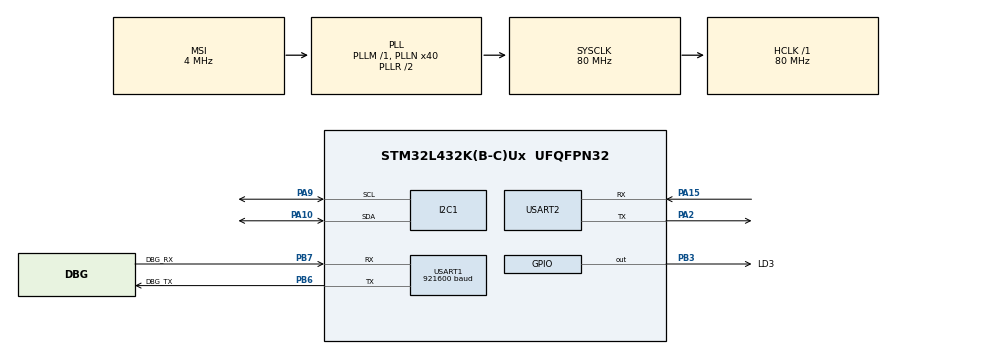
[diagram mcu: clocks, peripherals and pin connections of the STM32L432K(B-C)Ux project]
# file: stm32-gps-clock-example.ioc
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FREERTOS.Mutexes01=i2c1_mutex,Dynamic,NULL,Available;console_mutex,Dynamic,NULL,Available
FREERTOS.Tasks01=sensorTask,24,512,StartSensorTask,Default,NULL,Dynamic,NULL,NULL;consoleTask,16,256,StartConsoleTask,Default,NULL,Dynamic,NULL,NULL
FREERTOS.configTOTAL_HEAP_SIZE=16384
FREERTOS.configUSE_NEWLIB_REENTRANT=1
I2C1.Timing=0x10909CEC
Mcu.Family=STM32L4
Mcu.Name=STM32L432K(B-C)Ux
Mcu.Package=UFQFPN32
NVIC.I2C1_ER_IRQn=true\:5\:0\:false\:false\:true\:true\:true\:true
NVIC.I2C1_EV_IRQn=true\:5\:0\:false\:false\:true\:true\:true\:true
NVIC.PriorityGroup=NVIC_PRIORITYGROUP_4
NVIC.USART1_IRQn=true\:5\:0\:false\:false\:true\:true\:true\:true
NVIC.USART2_IRQn=true\:5\:0\:false\:false\:true\:true\:true\:true
PA10.Mode=I2C
PA10.Signal=I2C1_SDA
PA15\ (JTDI).Mode=Asynchronous
PA15\ (JTDI).Signal=USART2_RX
PA2.Mode=Asynchronous
PA2.Signal=USART2_TX
PA9.Mode=I2C
PA9.Signal=I2C1_SCL
PB3\ (JTDO-TRACESWO).GPIO_Label=LD3
PB3\ (JTDO-TRACESWO).Signal=GPIO_Output
PB6.GPIO_Label=DBG_TX
PB6.Mode=Asynchronous
PB6.Signal=USART1_TX
PB7.GPIO_Label=DBG_RX
PB7.GPIO_PuPd=GPIO_PULLUP
PB7.Mode=Asynchronous
PB7.Signal=USART1_RX
PC14-OSC32_IN\ (PC14).Mode=LSE-External-Oscillator
PC14-OSC32_IN\ (PC14).Signal=RCC_OSC32_IN
PC15-OSC32_OUT\ (PC15).Mode=LSE-External-Oscillator
PC15-OSC32_OUT\ (PC15).Signal=RCC_OSC32_OUT
ProjectManager.HeapSize=0x200
ProjectManager.StackSize=0x400
ProjectManager.TargetToolchain=STM32CubeIDE
RCC.FLatency=FLASH_LATENCY_4
RCC.HCLKFreq_Value=80000000
RCC.HSE_VALUE=8000000
RCC.HSI48_VALUE=48000000
RCC.HSI_VALUE=16000000
RCC.LSE_VALUE=32768
RCC.MSIPLLMode=RCC_MSIPLL_ENABLE
RCC.MSI_VALUE=4000000
RCC.PLLN=40
RCC.PLLSourceVirtual=RCC_PLLSOURCE_MSI
RCC.SYSCLKFreq_VALUE=80000000
RCC.SYSCLKSource=RCC_SYSCLKSOURCE_PLLCLK
RCC.VCOOutputFreq_Value=32000000
USART1.BaudRate=921600
USART1.VirtualMode-Asynchronous=VM_ASYNC
USART2.VirtualMode-Asynchronous=VM_ASYNC
VP_FREERTOS_VS_CMSIS_V2.Mode=CMSIS_V2
board=custom

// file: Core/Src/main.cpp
/* USER CODE BEGIN Header */
/**
  ******************************************************************************
  * @file           : main.cpp
  * @brief          : BMP390 and SHT31 bring-up on the NUCLEO-L432KC
  *
  *  A live test of two sensors on I2C1: a BMP390 (pressure, temperature)
  *  and an SHT31 (temperature, humidity) beside it, to compare the two
  *  temperatures. Claude-iTransport's non-blocking drivers
  *  (xbmp390<Stm32HalI2CTransport> forced once a second, in sensorTask;
  *  xSHT31<Stm32HalI2CTransport> in periodic mode, one a second, in its
  *  own task; see iTransport/SOURCE.txt). The BMP390's station pressure
  *  also goes through a SeaLevelBarometer (isensor/inc): the altimeter
  *  setting for the station's elevation, the sea-level figure a Davis
  *  console or weather.gov shows, with a calibration offset the console
  *  can set against such a reference. Once a second the latest readings
  *  go to the ST-LINK's virtual COM port (USART2, 115200 8N1).
  *
  *  At start-up the I2C bus is scanned and two ID registers read at 0x76
  *  and 0x77: 0x60 in register 0x00 is a BMP390 (0x50 a BMP388, which the
  *  same driver runs); 0x60, 0x58 or 0x61 in register 0xD0 a BME280,
  *  BMP280 or BME680, reported but not driven. An SHT31 answers at 0x44
  *  or 0x45. The scan repeats every 2 s until a BMP390 or an SHT31
  *  answers; each one found then gets its driver.
  *
  *  A debug log (Claude-iTransport's DebugLog.h, at ITRANSPORT_DEBUG 2, set
  *  in the project's defines) goes out on USART1 TX, D5 (PB6), at 921600
  *  8N1: the drivers' state changes and I2C faults ("bmp390", "sht31", "bus"), and
  *  this application's events ("app"). Read it with a 3.3 V USB-serial
  *  adapter or the Saleae's async serial analyser.
  *
  *  The GPS clock this project started as (GPS, OLED, W5500, NTP, PPS) is
  *  in the repository's history at commit eb4b352.
  *
  *  Wiring (NUCLEO-L432KC):
  *    I2C1_SCL  PA9  (D1)  -> BMP390 SCK, SHT31 SCL
  *    I2C1_SDA  PA10 (D0)  -> BMP390 SDI, SHT31 SDA
  *    3V3, GND             -> BMP390 and SHT31 VIN, GND
  *    (BMP390 SDO: 0x77 high or open on most boards, 0x76 to GND; either is found)
  *    USART2    PA2/PA15   <> ST-LINK virtual COM port (the USB cable)
  *    USART1_TX PB6  (D5)  -> debug log, 921600 8N1 (USART1_RX PB7, D4, unused)
  *    LD3       PB3        green LED: toggles on each BMP390 reading
  ******************************************************************************
  * @attention
  *
  * Copyright (c) 2026 STMicroelectronics.
  * All rights reserved.
  *
  * This software is licensed under terms that can be found in the LICENSE file
  * in the root directory of this software component.
  * If no LICENSE file comes with this software, it is provided AS-IS.
  *
  ******************************************************************************
  */
/* USER CODE END Header */
#include "main.h"
#include "cmsis_os.h"

/* USER CODE BEGIN Includes */
#include <stdio.h>
#include <string.h>
#include <stdlib.h>
#include <stdarg.h>
#include <math.h>
#include <atomic>
#include "Stm32HalI2CTransport.h"
#include "Stm32HalUartTransport.h"
#include "Stm32DebugPort.h"
#include "DebugLog.h"
#include "xSHT31.h"
#include "xbmp390.h"
#include "SeaLevelBarometer.h"
/* USER CODE END Includes */

/* USER CODE BEGIN PTD */
typedef xSHT31<Stm32HalI2CTransport> Sht31Sensor;
typedef BMP390::xbmp390<Stm32HalI2CTransport> Bmp390Sensor;
/* USER CODE END PTD */

/* USER CODE BEGIN PD */
// The BMP390's two addresses (its SDO pin)
#define BOSCH_ADDR_LOW          0x76
#define BOSCH_ADDR_HIGH         0x77
// The ID register of Bosch's older chips (0xD0) and what it holds for them
// (Bosch's datasheets, as the drivers and general knowledge have them):
// only reported here
#define CHIP_ID_REG             0xD0
#define CHIP_ID_BME280          0x60
#define CHIP_ID_BMP280          0x58
#define CHIP_ID_BME680          0x61
// The BMP390's ID register is 0x00 (Bosch's BMP3 API): 0x60, the same
// value as a BME280's, in another register
#define BMP3_CHIP_ID_REG        0x00

#define SHT31_ADDR_A            0x44       // ADDR pin low (most boards)
#define SHT31_ADDR_B            0x45       // ADDR pin high

// The station's elevation above mean sea level, for the altimeter setting.
// Set yours here, or with the console's e command (it isn't kept across a
// reset). 40 m: this board's station (elevationfinder.net).
#define STATION_ELEVATION_M     40.0f
#define M_PER_FT                0.3048f

#define SCAN_RETRY_MS           2000UL     // neither sensor found: scan again this often
#define READING_STALE_MS        3000UL     // no reading for this long: say so

// The debug log's UART (USART1): fast, since level 2 logs every state change
#define DEBUG_BAUD              921600

#define CONSOLE_RING            2048
#define CONSOLE_LINE            48
/* USER CODE END PD */

I2C_HandleTypeDef hi2c1;

UART_HandleTypeDef huart1;
UART_HandleTypeDef huart2;

/* Definitions for sensorTask */
osThreadId_t sensorTaskHandle;
const osThreadAttr_t sensorTask_attributes = {
  .name = "sensorTask",
  .stack_size = 512 * 4,
  .priority = (osPriority_t) osPriorityNormal,
};
/* Definitions for shtTask (started by sensorTask when an SHT31 answers) */
osThreadId_t shtTaskHandle;
const osThreadAttr_t shtTask_attributes = {
  .name = "shtTask",
  .stack_size = 384 * 4,
  .priority = (osPriority_t) osPriorityNormal,
};
/* Definitions for consoleTask */
osThreadId_t consoleTaskHandle;
const osThreadAttr_t consoleTask_attributes = {
  .name = "consoleTask",
  .stack_size = 256 * 4,
  .priority = (osPriority_t) osPriorityBelowNormal,
};
/* Definitions for i2c1_mutex */
osMutexId_t i2c1_mutexHandle;
const osMutexAttr_t i2c1_mutex_attributes = {
  .name = "i2c1_mutex"
};
/* Definitions for console_mutex */
osMutexId_t console_mutexHandle;
const osMutexAttr_t console_mutex_attributes = {
  .name = "console_mutex"
};
/* USER CODE BEGIN PV */
// The console: a ring the tasks write (under console_mutex) and
// consoleTask hands to USART2
static char g_console[CONSOLE_RING];
static uint32_t g_conHead = 0, g_conTail = 0;
static uint32_t g_conDropped = 0;

// A command line typed on the console, handed from the UART interrupt to
// sensorTask: g_cmdReady set once it is complete, cleared when taken
static char g_cmd[CONSOLE_LINE];
static std::atomic<bool> g_cmdReady{false};

// The SHT31: its address (0 if none) for shtTask, and its latest reading
// for sensorTask (written by shtTask only; each value a 32-bit atomic)
static std::atomic<uint8_t> g_shtAddr{0};
static std::atomic<float> g_shtT{NAN}, g_shtH{NAN};
static std::atomic<uint32_t> g_shtReadings{0}, g_shtTick{0};
static std::atomic<int> g_shtState{0};

// Stands in for the BMP390 when none answered: NAN, so the sea-level
// reading is NAN too
struct NoBarometer : Barometer {
  float getPressure() const override { return NAN; }
};
/* USER CODE END PV */

void SystemClock_Config(void);
static void MX_GPIO_Init(void);
static void MX_I2C1_Init(void);
static void MX_USART1_UART_Init(void);
static void MX_USART2_UART_Init(void);
void StartSensorTask(void *argument);
void StartShtTask(void *argument);
void StartConsoleTask(void *argument);

/* USER CODE BEGIN PFP */
static void consolePrint(const char *fmt, ...) __attribute__((format(printf, 1, 2)));
/* USER CODE END PFP */

/* USER CODE BEGIN 0 */
// The HAL UART and I2C interrupt callbacks are in iTransport/hw/stm32/src
// (Stm32UartItCallbacks.cpp, Stm32I2CItCallbacks.cpp): don't define them here.

// printf to the console. Tasks only; a line that doesn't fit is dropped
// and counted.
static void consolePrint(const char *fmt, ...)
{
  char line[200];
  va_list ap;
  va_start(ap, fmt);
  int n = vsnprintf(line, sizeof(line), fmt, ap);
  va_end(ap);
  if (n <= 0)
    return;
  if (n >= (int) sizeof(line))
    n = sizeof(line) - 1;
  if (console_mutexHandle == nullptr || osMutexAcquire(console_mutexHandle, 20) != osOK)
    return;
  if (g_conHead - g_conTail + (uint32_t) n > CONSOLE_RING) {
    ++g_conDropped;
  } else {
    for (int i = 0; i < n; ++i)
      g_console[(g_conHead + i) % CONSOLE_RING] = line[i];
    g_conHead += n;
  }
  osMutexRelease(console_mutexHandle);
}

// Keys typed on the console, a line at a time (Enter ends it; Backspace
// works). Interrupt context. A line typed while the last is still waiting
// is dropped. The terminal should echo locally: nothing is sent back.
struct ConsoleKeys : iTransportRxSink {
  char buf[CONSOLE_LINE];
  uint8_t len = 0;
  void onByteReceived(uint8_t b) override {
    if (b == '\r' || b == '\n') {
      if (len != 0 && !g_cmdReady.load(std::memory_order_acquire)) {
        memcpy(g_cmd, buf, len);
        g_cmd[len] = 0;
        g_cmdReady.store(true, std::memory_order_release);
      }
      len = 0;
    } else if (b == 0x08 || b == 0x7F) {
      if (len != 0)
        --len;
    } else if (b >= 0x20 && len < CONSOLE_LINE - 1) {
      buf[len++] = (char) b;
    }
  }
};
static ConsoleKeys consoleKeys;

static void printHelp(void)
{
  consolePrint("\r\nNUCLEO-L432KC BMP390/SHT31 bring-up: I2C1 SCL=D1 (PA9) SDA=D0 (PA10), 100 kHz\r\n"
               "commands (Enter to finish; turn on your terminal's local echo):\r\n"
               "  s          scan the I2C bus and read the chip IDs at 0x76 and 0x77\r\n"
               "  e 131      the station's elevation in feet (e 40m for metres), for the sea-level reading\r\n"
               "  b 30.54    calibrate: make the sea-level reading this many inHg now (from weather.gov, say)\r\n"
               "  o          clear the calibration offset\r\n"
               "  h          this help\r\n\r\n");
}

// "-12.34" from a double with `decimals` places, without printf float
// support (newlib nano); "nan" for NAN
static void formatFixed(char *out, size_t len, double v, int decimals)
{
  if (isnan(v)) {
    snprintf(out, len, "nan");
    return;
  }
  long scale = 1;
  for (int i = 0; i < decimals; ++i)
    scale *= 10;
  const bool neg = v < 0;
  const long long n = (long long)((neg ? -v : v) * scale + 0.5);
  snprintf(out, len, "%s%ld.%0*ld", neg ? "-" : "", (long)(n / scale), decimals, (long)(n % scale));
}

static const char *chipName(uint8_t id)
{
  switch (id) {
  case CHIP_ID_BME280: return "BME280";
  case CHIP_ID_BMP280: return "BMP280 (no humidity)";
  case CHIP_ID_BME680: return "BME680";
  default:             return "unknown";
  }
}

// Every address 0x08..0x77 that acknowledges, and two ID registers at 0x76
// and 0x77: 0x00 (the BMP390's) and 0xD0 (the older Bosch chips'). Blocking
// HAL calls under i2c1_mutex, about 15 ms. The mutex is not recursive and
// a driver holds it from issuing a transfer until it sees it land, so call
// this only from a thread with no transfer outstanding (sensorTask waits
// for a state of its driver's with none). Returns the address of a BMP390
// (or BMP388), or 0 (and 0 if the bus stayed busy); an SHT31's through
// shtAddr (0 if none).
static uint8_t scanBus(uint8_t *shtAddr = nullptr)
{
  uint8_t found = 0;
  uint8_t sht = 0;
  char list[160];
  size_t n = 0;
  list[0] = 0;
  if (osMutexAcquire(i2c1_mutexHandle, 200) != osOK) {
    consolePrint("I2C bus busy: no scan\r\n");
    return 0;
  }
  bool acked[2] = {false, false};
  for (uint8_t a = 0x08; a <= 0x77; ++a) {
    if (HAL_I2C_IsDeviceReady(&hi2c1, (uint16_t)(a << 1), 1, 2) == HAL_OK) {
      if (n + 6 < sizeof(list))
        n += (size_t) snprintf(list + n, sizeof(list) - n, " 0x%02X", a);
      if ((a == SHT31_ADDR_A || a == SHT31_ADDR_B) && sht == 0)
        sht = a;
      if (a == BOSCH_ADDR_LOW || a == BOSCH_ADDR_HIGH)
        acked[a - BOSCH_ADDR_LOW] = true;
    }
  }
  // Both ID registers at each address that answered
  uint8_t ids3[2] = {0, 0}, ids[2] = {0, 0};
  bool idOk[2] = {false, false};
  for (int i = 0; i < 2; ++i) {
    const uint8_t a = (uint8_t)(BOSCH_ADDR_LOW + i);
    if (!acked[i])
      continue;
    idOk[i] = HAL_I2C_Mem_Read(&hi2c1, (uint16_t)(a << 1), BMP3_CHIP_ID_REG, I2C_MEMADD_SIZE_8BIT, &ids3[i], 1, 10) == HAL_OK
              && HAL_I2C_Mem_Read(&hi2c1, (uint16_t)(a << 1), CHIP_ID_REG, I2C_MEMADD_SIZE_8BIT, &ids[i], 1, 10) == HAL_OK;
  }
  osMutexRelease(i2c1_mutexHandle);

  consolePrint("I2C scan:%s\r\n", n ? list : " nothing answered (check SDA D0, SCL D1, 3V3, GND, pull-ups)");
  for (int i = 0; i < 2; ++i) {
    const uint8_t a = (uint8_t)(BOSCH_ADDR_LOW + i);
    if (!idOk[i])
      continue;
    DBG_EVENT("app", "chip-id", (int32_t) a, (int32_t) ids3[i], (int32_t) ids[i]);
    if (ids3[i] == BMP390_CHIP_ID || ids3[i] == BMP388_CHIP_ID) {
      consolePrint("  0x%02X: chip ID 0x%02X (register 0x00) = %s\r\n", a, ids3[i],
                   ids3[i] == BMP390_CHIP_ID ? "BMP390" : "BMP388");
      if (found == 0)
        found = a;
    } else if (ids[i] == CHIP_ID_BME280 || ids[i] == CHIP_ID_BMP280 || ids[i] == CHIP_ID_BME680) {
      consolePrint("  0x%02X: chip ID 0x%02X (register 0xD0) = %s: not driven by this firmware\r\n", a, ids[i],
                   chipName(ids[i]));
    } else {
      // Two chips at one address read as the AND of their answers
      consolePrint("  0x%02X: chip IDs 0x%02X (0x00), 0x%02X (0xD0): unknown; two chips at this address?\r\n", a,
                   ids3[i], ids[i]);
    }
  }
  if (sht != 0)
    consolePrint("  0x%02X: answers where an SHT31 would be (it has no ID register to check)\r\n", sht);
  if (shtAddr != nullptr)
    *shtAddr = sht;
  return found;
}
/* USER CODE END 0 */

int main(void)
{

  /* MCU Configuration--------------------------------------------------------*/

  /* Reset of all peripherals, Initializes the Flash interface and the Systick. */
  HAL_Init();

  /* Configure the system clock */
  SystemClock_Config();

  /* Initialize all configured peripherals */
  MX_GPIO_Init();
  MX_I2C1_Init();
  MX_USART1_UART_Init();
  MX_USART2_UART_Init();
  /* USER CODE BEGIN 2 */
  // The debug log on USART1: lines queue in a ring from here on, and
  // consoleTask's dbg::poll() sends them
  static Stm32HalUartTransport debugUart(&huart1);
  dbg::begin(&debugUart, Stm32DebugPort::port());
  DBG_EVENT("app", "start", (int32_t) HAL_GetREVID(), (int32_t) HAL_GetDEVID());
  /* USER CODE END 2 */

  /* Init scheduler */
  osKernelInitialize();
  /* Create the mutex(es) */
  /* creation of i2c1_mutex */
  i2c1_mutexHandle = osMutexNew(&i2c1_mutex_attributes);

  /* creation of console_mutex */
  console_mutexHandle = osMutexNew(&console_mutex_attributes);

  /* Create the thread(s) */
  /* creation of sensorTask */
  sensorTaskHandle = osThreadNew(StartSensorTask, NULL, &sensorTask_attributes);

  /* creation of consoleTask */
  consoleTaskHandle = osThreadNew(StartConsoleTask, NULL, &consoleTask_attributes);

  /* Start scheduler */
  osKernelStart();

  /* We should never get here as control is now taken by the scheduler */

  /* Infinite loop */
  while (1)
  {

  }
}

void SystemClock_Config(void)
{
  RCC_OscInitTypeDef RCC_OscInitStruct = {0};
  RCC_ClkInitTypeDef RCC_ClkInitStruct = {0};

  /** Configure the main internal regulator output voltage
  */
  if (HAL_PWREx_ControlVoltageScaling(PWR_REGULATOR_VOLTAGE_SCALE1) != HAL_OK)
  {
    Error_Handler();
  }

  /** Configure LSE Drive Capability
  */
  HAL_PWR_EnableBkUpAccess();
  __HAL_RCC_LSEDRIVE_CONFIG(RCC_LSEDRIVE_LOW);

  /** Initializes the RCC Oscillators according to the specified parameters
  * in the RCC_OscInitTypeDef structure.
  * MSI 4 MHz -> PLL x40 /2 -> 80 MHz; the LSE crystal (X2) trims the MSI.
  */
  RCC_OscInitStruct.OscillatorType = RCC_OSCILLATORTYPE_LSE|RCC_OSCILLATORTYPE_MSI;
  RCC_OscInitStruct.LSEState = RCC_LSE_ON;
  RCC_OscInitStruct.MSIState = RCC_MSI_ON;
  RCC_OscInitStruct.MSICalibrationValue = 0;
  RCC_OscInitStruct.MSIClockRange = RCC_MSIRANGE_6;
  RCC_OscInitStruct.PLL.PLLState = RCC_PLL_ON;
  RCC_OscInitStruct.PLL.PLLSource = RCC_PLLSOURCE_MSI;
  RCC_OscInitStruct.PLL.PLLM = 1;
  RCC_OscInitStruct.PLL.PLLN = 40;
  RCC_OscInitStruct.PLL.PLLP = RCC_PLLP_DIV7;
  RCC_OscInitStruct.PLL.PLLQ = RCC_PLLQ_DIV2;
  RCC_OscInitStruct.PLL.PLLR = RCC_PLLR_DIV2;
  if (HAL_RCC_OscConfig(&RCC_OscInitStruct) != HAL_OK)
  {
    Error_Handler();
  }

  /** Initializes the CPU, AHB and APB buses clocks
  */
  RCC_ClkInitStruct.ClockType = RCC_CLOCKTYPE_HCLK|RCC_CLOCKTYPE_SYSCLK
                              |RCC_CLOCKTYPE_PCLK1|RCC_CLOCKTYPE_PCLK2;
  RCC_ClkInitStruct.SYSCLKSource = RCC_SYSCLKSOURCE_PLLCLK;
  RCC_ClkInitStruct.AHBCLKDivider = RCC_SYSCLK_DIV1;
  RCC_ClkInitStruct.APB1CLKDivider = RCC_HCLK_DIV1;
  RCC_ClkInitStruct.APB2CLKDivider = RCC_HCLK_DIV1;

  if (HAL_RCC_ClockConfig(&RCC_ClkInitStruct, FLASH_LATENCY_4) != HAL_OK)
  {
    Error_Handler();
  }

  /** Enable MSI Auto calibration
  */
  HAL_RCCEx_EnableMSIPLLMode();
}

static void MX_I2C1_Init(void)
{

  hi2c1.Instance = I2C1;
  hi2c1.Init.Timing = 0x10909CEC;   // 100 kHz (standard mode) at 80 MHz; the BMP390 and SHT31 also take 400 kHz
  hi2c1.Init.OwnAddress1 = 0;
  hi2c1.Init.AddressingMode = I2C_ADDRESSINGMODE_7BIT;
  hi2c1.Init.DualAddressMode = I2C_DUALADDRESS_DISABLE;
  hi2c1.Init.OwnAddress2 = 0;
  hi2c1.Init.OwnAddress2Masks = I2C_OA2_NOMASK;
  hi2c1.Init.GeneralCallMode = I2C_GENERALCALL_DISABLE;
  hi2c1.Init.NoStretchMode = I2C_NOSTRETCH_DISABLE;
  if (HAL_I2C_Init(&hi2c1) != HAL_OK)
  {
    Error_Handler();
  }

  /** Configure Analogue filter
  */
  if (HAL_I2CEx_ConfigAnalogFilter(&hi2c1, I2C_ANALOGFILTER_ENABLE) != HAL_OK)
  {
    Error_Handler();
  }

  /** Configure Digital filter
  */
  if (HAL_I2CEx_ConfigDigitalFilter(&hi2c1, 0) != HAL_OK)
  {
    Error_Handler();
  }

}

static void MX_USART1_UART_Init(void)
{

  huart1.Instance = USART1;
  huart1.Init.BaudRate = DEBUG_BAUD;
  huart1.Init.WordLength = UART_WORDLENGTH_8B;
  huart1.Init.StopBits = UART_STOPBITS_1;
  huart1.Init.Parity = UART_PARITY_NONE;
  huart1.Init.Mode = UART_MODE_TX_RX;
  huart1.Init.HwFlowCtl = UART_HWCONTROL_NONE;
  huart1.Init.OverSampling = UART_OVERSAMPLING_16;
  huart1.Init.OneBitSampling = UART_ONE_BIT_SAMPLE_DISABLE;
  huart1.AdvancedInit.AdvFeatureInit = UART_ADVFEATURE_NO_INIT;
  if (HAL_UART_Init(&huart1) != HAL_OK)
  {
    Error_Handler();
  }

}

static void MX_USART2_UART_Init(void)
{

  huart2.Instance = USART2;
  huart2.Init.BaudRate = 115200;
  huart2.Init.WordLength = UART_WORDLENGTH_8B;
  huart2.Init.StopBits = UART_STOPBITS_1;
  huart2.Init.Parity = UART_PARITY_NONE;
  huart2.Init.Mode = UART_MODE_TX_RX;
  huart2.Init.HwFlowCtl = UART_HWCONTROL_NONE;
  huart2.Init.OverSampling = UART_OVERSAMPLING_16;
  huart2.Init.OneBitSampling = UART_ONE_BIT_SAMPLE_DISABLE;
  huart2.AdvancedInit.AdvFeatureInit = UART_ADVFEATURE_NO_INIT;
  if (HAL_UART_Init(&huart2) != HAL_OK)
  {
    Error_Handler();
  }

}

static void MX_GPIO_Init(void)
{
  GPIO_InitTypeDef GPIO_InitStruct = {0};

  /* GPIO Ports Clock Enable */
  __HAL_RCC_GPIOC_CLK_ENABLE();
  __HAL_RCC_GPIOA_CLK_ENABLE();
  __HAL_RCC_GPIOB_CLK_ENABLE();

  /*Configure GPIO pin Output Level */
  HAL_GPIO_WritePin(LD3_GPIO_Port, LD3_Pin, GPIO_PIN_RESET);

  /*Configure GPIO pin : LD3_Pin */
  GPIO_InitStruct.Pin = LD3_Pin;
  GPIO_InitStruct.Mode = GPIO_MODE_OUTPUT_PP;
  GPIO_InitStruct.Pull = GPIO_NOPULL;
  GPIO_InitStruct.Speed = GPIO_SPEED_FREQ_LOW;
  HAL_GPIO_Init(LD3_GPIO_Port, &GPIO_InitStruct);

}

/* USER CODE BEGIN Header_StartSensorTask */
/**
  * @brief  Finds the BMP390 and the SHT31 (bus scan, chip ID), runs the
  *         BMP390's driver, starts shtTask for the SHT31, takes the
  *         console's commands and prints the latest readings once a
  *         second.
  * @param  argument: Not used
  * @retval None
  */
/* USER CODE END Header_StartSensorTask */
void StartSensorTask(void *argument)
{
  /* USER CODE BEGIN 5 */
  printHelp();

  // Find them first: the BMP390 at 0x76 or 0x77 by its chip ID, the
  // SHT31 at 0x44 or 0x45
  uint8_t addr = 0;
  uint8_t shtAddr = 0;
  while ((addr = scanBus(&shtAddr)) == 0 && shtAddr == 0) {
    consolePrint("no BMP390 (chip ID 0x60 in register 0x00) at 0x76 or 0x77, no SHT31 at 0x44 or 0x45;"
                 " scanning again in %lu s\r\n", (unsigned long)(SCAN_RETRY_MS / 1000));
    osDelay(SCAN_RETRY_MS);
  }
  if (shtAddr != 0) {
    g_shtAddr.store(shtAddr);
    shtTaskHandle = osThreadNew(StartShtTask, NULL, &shtTask_attributes);
    consolePrint("SHT31 at 0x%02X: periodic mode, 1 a second, high repeatability\r\n", shtAddr);
  } else {
    consolePrint("no SHT31 at 0x44 or 0x45: BMP390 only\r\n");
  }

  // The BMP390: forced, once a second; pressure x8, temperature x1, no
  // filter (each reading on its own). Built here only if it answered: its
  // transport needs i2c1_mutex and the address just found.
  Bmp390Sensor *bmp = nullptr;
  if (addr != 0) {
    BMP390::bmp390_param_t param;
    param.osr_pressure = BMP390::bmp390_osr_8x;
    param.osr_temperature = BMP390::bmp390_osr_1x;
    param.iir = BMP390::bmp390_iir_off;
    param.period_ms = 1000;
    static Bmp390Sensor sensor(param, &hi2c1, addr, i2c1_mutexHandle);
    sensor.setDebugTag("bmp390");           // its state changes and faults in the debug log
    bmp = &sensor;
    consolePrint("BMP390 at 0x%02X: forced, 1 a second, pressure x8, temperature x1, no filter\r\n", addr);
  } else {
    consolePrint("no BMP390 at 0x76 or 0x77: SHT31 only\r\n");
  }
  // Its pressure brought to sea level (the altimeter setting) for the
  // station's elevation; the offset is the console's b command's. Its
  // getters are const, so it reads the driver directly (this thread).
  static NoBarometer noBarometer;
  static SeaLevelBarometer slp(bmp != nullptr ? (const Barometer &) *bmp : (const Barometer &) noBarometer, STATION_ELEVATION_M);

  double t = NAN, p = NAN;
  uint32_t readings = 0;
  uint32_t lastReadingTick = 0;
  uint32_t lastPrintTick = osKernelGetTickCount();
  double tMin = NAN, tMax = NAN;
  bool scanPending = false;

  for(;;)
  {
    if (bmp != nullptr)
      bmp->main(osKernelGetTickCount());    // sleeps inside, up to 100 ms
    else
      osDelay(100);
    const uint32_t tick = osKernelGetTickCount();

    if (bmp != nullptr && bmp->newData()) {
      bmp->GetTemperature(&t);
      bmp->GetPressure(&p);
      ++readings;
      lastReadingTick = tick;
      if (!isnan(t)) {
        if (isnan(tMin) || t < tMin) tMin = t;
        if (isnan(tMax) || t > tMax) tMax = t;
      }
      HAL_GPIO_TogglePin(LD3_GPIO_Port, LD3_Pin);
      DBG_EVENT("app", "reading", (int32_t) lround(t * 100), (int32_t) lround(p));
    }

    // A command typed on the console
    if (g_cmdReady.load(std::memory_order_acquire)) {
      char cmd[CONSOLE_LINE];
      strcpy(cmd, g_cmd);
      g_cmdReady.store(false, std::memory_order_release);
      consolePrint("> %s\r\n", cmd);
      DBG_EVENT("app", "cmd", (int32_t) cmd[0]);
      char *end = nullptr;
      if (cmd[0] == 's' && cmd[1] == 0) {
        scanPending = true;                 // done below, between the driver's transfers
      } else if (cmd[0] == 'e' && cmd[1] == ' ') {
        const float v = strtof(cmd + 2, &end);
        const bool metres = end != nullptr && (*end == 'm' || *end == 'M');
        if (end == cmd + 2 || !(v > -500.0f && v < 30000.0f)) {
          consolePrint("e <feet> or e <metres>m, e.g. e 131 or e 40m\r\n");
        } else {
          slp.setElevation(metres ? v : v * M_PER_FT);
          char m[16];
          formatFixed(m, sizeof(m), slp.elevation(), 1);
          consolePrint("elevation %s m (%ld ft); the calibration offset is kept: b again if it was set at another elevation\r\n",
                       m, lroundf(slp.elevation() / M_PER_FT));
        }
      } else if (cmd[0] == 'b' && cmd[1] == ' ') {
        const float inHg = strtof(cmd + 2, &end);
        if (end == cmd + 2 || !(inHg > 25.0f && inHg < 33.0f)) {
          consolePrint("b <inHg>, the sea-level pressure to match now, e.g. b 30.54\r\n");
        } else if (!slp.calibrateTo(baro::inHgToPa(inHg))) {
          consolePrint("no pressure reading yet: try again in a moment\r\n");
        } else {
          char o[16];
          formatFixed(o, sizeof(o), slp.offset() / 100.0, 2);
          consolePrint("calibrated: offset %s hPa added to the station pressure\r\n", o);
          DBG_EVENT("app", "cal", (int32_t) lroundf(slp.offset()), (int32_t) lroundf(slp.elevation()));
        }
      } else if (cmd[0] == 'o' && cmd[1] == 0) {
        slp.setOffset(0.0f);
        consolePrint("calibration offset cleared\r\n");
      } else if ((cmd[0] == 'h' || cmd[0] == '?') && cmd[1] == 0) {
        printHelp();
      } else {
        consolePrint("unknown command; h for help\r\n");
      }
    }

    // The scan: only in a state where the driver has no transfer
    // outstanding (it holds i2c1_mutex from issuing one until it sees it
    // land, and the mutex isn't recursive). It spends most of its time in these.
    if (scanPending) {
      const BMP390::bmp390_state_t st = bmp != nullptr ? bmp->state() : BMP390::bmp390_done_state;
      if (st == BMP390::bmp390_done_state || st == BMP390::bmp390_measuring_state
          || st == BMP390::bmp390_status_poll_state || st == BMP390::bmp390_cmd_rdy_poll_state
          || st == BMP390::bmp390_reset_settle_state || st == BMP390::bmp390_error_state) {
        scanPending = false;
        (void) scanBus();
      }
    }

    // Once a second: the latest readings, flagged where outside the
    // BMP390's range (Bosch's API clamps to -40..85 C, 300..1250 hPa)
    if (tick - lastPrintTick >= 1000) {
      lastPrintTick = tick;
      if (bmp != nullptr) {
        const bool stale = readings == 0 || tick - lastReadingTick > READING_STALE_MS;
        if (stale) {
          consolePrint("BMP390 at 0x%02X: no reading%s (driver state %d%s)\r\n", addr,
                       readings == 0 ? " yet" : " for 3 s", (int) bmp->state(),
                       bmp->state() == BMP390::bmp390_error_state ? ", error: not answering, or a wrong chip ID" : "");
        } else {
          char ts[16], tf[16], ps[16], sl[16], sh[16], el[16], of[16], lo[16], hi[16];
          formatFixed(ts, sizeof(ts), t, 2);
          formatFixed(tf, sizeof(tf), t * 9.0 / 5.0 + 32.0, 1);
          formatFixed(ps, sizeof(ps), p / 100.0, 2);
          const float alt = slp.getPressure();
          formatFixed(sl, sizeof(sl), baro::paToInHg(alt), 2);
          formatFixed(sh, sizeof(sh), alt / 100.0, 2);
          formatFixed(el, sizeof(el), slp.elevation(), 0);
          formatFixed(of, sizeof(of), slp.offset() / 100.0, 2);
          formatFixed(lo, sizeof(lo), tMin, 2);
          formatFixed(hi, sizeof(hi), tMax, 2);
          const bool tBad = t <= -40.0 || t >= 85.0;            // pinned at Bosch's clamp
          const bool pBad = p <= 30000.0 || p >= 125000.0;
          consolePrint("BMP390 T %s C (%s F)%s  P %s hPa%s = %s inHg / %s hPa at sea level (%s m, cal %s hPa)"
                       " | %lu readings, T %s..%s C\r\n", ts, tf, tBad ? " (?)" : "", ps, pBad ? " (?)" : "", sl, sh,
                       el, of, (unsigned long) readings, lo, hi);
          DBG_EVENT("app", "slp", (int32_t) lroundf(alt));
        }
      }
      // The SHT31 beside it
      const uint32_t shtN = g_shtReadings.load();
      if (g_shtAddr.load() != 0) {
        const float st = g_shtT.load(), shh = g_shtH.load();
        if (shtN == 0 || tick - g_shtTick.load() > READING_STALE_MS) {
          consolePrint("SHT31  no reading%s (driver state %d%s)\r\n", shtN == 0 ? " yet" : " for 3 s", g_shtState.load(),
                       g_shtState.load() == sht31_error_state ? ", error: not answering" : "");
        } else {
          char a[16], af[16], b[16], dt[16];
          formatFixed(a, sizeof(a), st, 2);
          formatFixed(af, sizeof(af), st * 9.0 / 5.0 + 32.0, 1);
          formatFixed(b, sizeof(b), shh, 1);
          formatFixed(dt, sizeof(dt), t - st, 2);
          consolePrint("SHT31  T %s C (%s F)  H %s %%RH | BMP390 - SHT31: T %s C | %lu readings\r\n", a, af, b, dt,
                       (unsigned long) shtN);
        }
      }
    }
  }
  /* USER CODE END 5 */
}

/* USER CODE BEGIN Header_StartShtTask */
/**
  * @brief  Runs the SHT31's driver in periodic mode (one reading a second)
  *         and publishes each reading for sensorTask. Started by
  *         sensorTask once the bus scan has found an SHT31; the driver
  *         gets its own thread since its main() sleeps inside.
  * @param  argument: Not used
  * @retval None
  */
/* USER CODE END Header_StartShtTask */
void StartShtTask(void *argument)
{
  /* USER CODE BEGIN StartShtTask */
  SHT31_param_t param;
  param.periodic_mode = true;
  param.heater_enable = false;
  param.sample_rate = _1mps_high_Res;
  static Sht31Sensor sht(param, &hi2c1, g_shtAddr.load(), i2c1_mutexHandle);
  sht.setDebugTag("sht31");

  for(;;)
  {
    sht.main(osKernelGetTickCount());       // sleeps inside, up to 100 ms
    g_shtState.store((int) sht.state());
    if (sht.newData()) {
      float t = NAN, h = NAN;
      sht.GetTemperature(&t);
      sht.GetHumidity(&h);
      g_shtT.store(t);
      g_shtH.store(h);
      g_shtTick.store(osKernelGetTickCount());
      g_shtReadings.fetch_add(1);
      DBG_EVENT("app", "sht", (int32_t) lroundf(t * 100), (int32_t) lroundf(h * 100));
    }
  }
  /* USER CODE END StartShtTask */
}

/* USER CODE BEGIN Header_StartConsoleTask */
/**
  * @brief  Hands the console ring to USART2 (the ST-LINK's virtual COM
  *         port), a piece at a time, and listens for keys.
  * @param  argument: Not used
  * @retval None
  */
/* USER CODE END Header_StartConsoleTask */
void StartConsoleTask(void *argument)
{
  /* USER CODE BEGIN StartConsoleTask */
  static Stm32HalUartTransport port(&huart2);
  static uint8_t chunk[128];               // sent from here by interrupt: static
  uint32_t lastDropped = 0;
  port.setRxSink(consoleKeys);

  for(;;)
  {
    osMutexAcquire(console_mutexHandle, osWaitForever);
    const uint32_t avail = g_conHead - g_conTail;
    const uint32_t len = avail < sizeof(chunk) ? avail : sizeof(chunk);
    for (uint32_t i = 0; i < len; ++i)
      chunk[i] = (uint8_t) g_console[(g_conTail + i) % CONSOLE_RING];
    const uint32_t dropped = g_conDropped;
    osMutexRelease(console_mutexHandle);

    dbg::poll();                           // the debug log, to USART1
    if (len == 0) {
      osDelay(5);
      continue;
    }
    while (!port.write(chunk, len))        // the last piece still going out
      osDelay(1);
    // write() only started it: wait until it is out before chunk is reused
    while (huart2.gState != HAL_UART_STATE_READY)
      osDelay(1);
    osMutexAcquire(console_mutexHandle, osWaitForever);
    g_conTail += len;
    osMutexRelease(console_mutexHandle);
    if (dropped != lastDropped) {
      lastDropped = dropped;
      consolePrint("(console: %lu line(s) dropped so far)\r\n", (unsigned long) dropped);
    }
  }
  /* USER CODE END StartConsoleTask */
}

void Error_Handler(void)
{
  __disable_irq();
  while (1)
  {
  }
}
